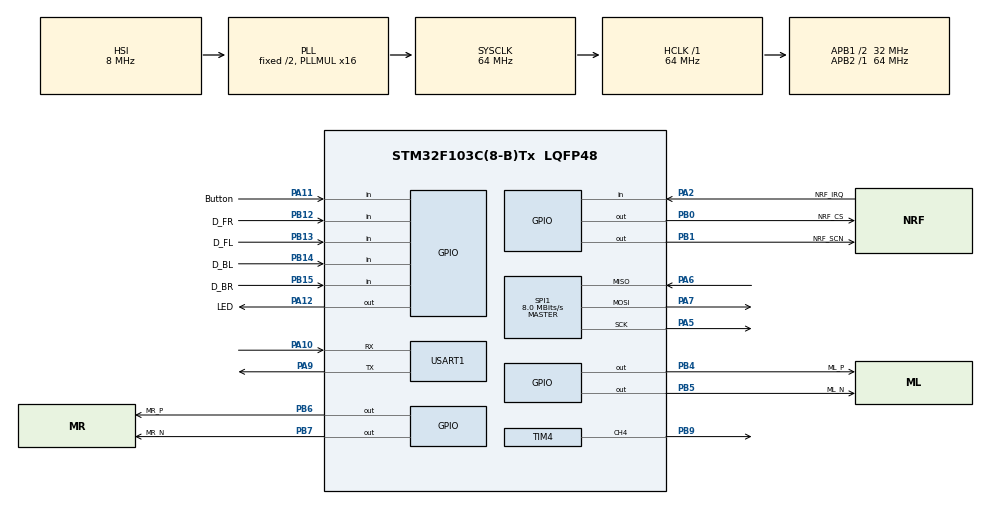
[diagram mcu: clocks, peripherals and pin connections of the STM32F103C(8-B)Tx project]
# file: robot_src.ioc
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Mcu.Family=STM32F1
Mcu.Name=STM32F103C(8-B)Tx
Mcu.Package=LQFP48
NVIC.PriorityGroup=NVIC_PRIORITYGROUP_4
PA10.Mode=Asynchronous
PA10.Signal=USART1_RX
PA11.GPIO_Label=Button
PA11.Signal=GPIO_Input
PA12.GPIO_Label=LED
PA12.Signal=GPIO_Output
PA13.Mode=Serial_Wire
PA13.Signal=SYS_JTMS-SWDIO
PA14.Mode=Serial_Wire
PA14.Signal=SYS_JTCK-SWCLK
PA2.GPIO_Label=NRF_IRQ
PA2.Signal=GPIO_Input
PA5.Mode=Full_Duplex_Master
PA5.Signal=SPI1_SCK
PA6.Mode=Full_Duplex_Master
PA6.Signal=SPI1_MISO
PA7.Mode=Full_Duplex_Master
PA7.Signal=SPI1_MOSI
PA9.Mode=Asynchronous
PA9.Signal=USART1_TX
PB0.GPIO_Label=NRF_CS
PB0.Signal=GPIO_Output
PB1.GPIO_Label=NRF_SCN
PB1.Signal=GPIO_Output
PB12.GPIO_Label=D_FR
PB12.Signal=GPIO_Input
PB13.GPIO_Label=D_FL
PB13.Signal=GPIO_Input
PB14.GPIO_Label=D_BL
PB14.Signal=GPIO_Input
PB15.GPIO_Label=D_BR
PB15.Signal=GPIO_Input
PB4.GPIO_Label=ML_P
PB4.Signal=GPIO_Output
PB5.GPIO_Label=ML_N
PB5.Signal=GPIO_Output
PB6.GPIO_Label=MR_P
PB6.Signal=GPIO_Output
PB7.GPIO_Label=MR_N
PB7.Signal=GPIO_Output
PB9.Signal=S_TIM4_CH4
ProjectManager.HeapSize=0x200
ProjectManager.StackSize=0x1000
ProjectManager.TargetToolchain=SW4STM32
RCC.AHBFreq_Value=64000000
RCC.APB1CLKDivider=RCC_HCLK_DIV2
RCC.APB1Freq_Value=32000000
RCC.APB1TimFreq_Value=64000000
RCC.APB2Freq_Value=64000000
RCC.APB2TimFreq_Value=64000000
RCC.HCLKFreq_Value=64000000
RCC.PLLMUL=RCC_PLL_MUL16
RCC.SYSCLKFreq_VALUE=64000000
RCC.SYSCLKSource=RCC_SYSCLKSOURCE_PLLCLK
RCC.USBFreq_Value=64000000
SH.S_TIM4_CH4.0=TIM4_CH4,PWM Generation4 CH4
SPI1.BaudRatePrescaler=SPI_BAUDRATEPRESCALER_8
SPI1.CalculateBaudRate=8.0 MBits/s
SPI1.Direction=SPI_DIRECTION_2LINES
SPI1.Mode=SPI_MODE_MASTER
SPI1.VirtualType=VM_MASTER
TIM4.Channel-PWM\ Generation4\ CH4=TIM_CHANNEL_4
TIM4.Period=160-1
TIM4.Prescaler=8-1
TIM4.Pulse-PWM\ Generation4\ CH4=80
USART1.VirtualMode=VM_ASYNC
board=custom

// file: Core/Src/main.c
/* USER CODE BEGIN Header */
/**
******************************************************************************
* @file           : main.c
* @brief          : Main program body
******************************************************************************
** This notice applies to any and all portions of this file
* that are not between comment pairs USER CODE BEGIN and
* USER CODE END. Other portions of this file, whether
* inserted by the user or by software development tools
* are owned by their respective copyright owners.
*
* COPYRIGHT(c) 2018 STMicroelectronics
*
* Redistribution and use in source and binary forms, with or without modification,
* are permitted provided that the following conditions are met:
*   1. Redistributions of source code must retain the above copyright notice,
*      this list of conditions and the following disclaimer.
*   2. Redistributions in binary form must reproduce the above copyright notice,
*      this list of conditions and the following disclaimer in the documentation
*      and/or other materials provided with the distribution.
*   3. Neither the name of STMicroelectronics nor the names of its contributors
*      may be used to endorse or promote products derived from this software
*      without specific prior written permission.
*
* THIS SOFTWARE IS PROVIDED BY THE COPYRIGHT HOLDERS AND CONTRIBUTORS "AS IS"
* AND ANY EXPRESS OR IMPLIED WARRANTIES, INCLUDING, BUT NOT LIMITED TO, THE
* IMPLIED WARRANTIES OF MERCHANTABILITY AND FITNESS FOR A PARTICULAR PURPOSE ARE
* DISCLAIMED. IN NO EVENT SHALL THE COPYRIGHT HOLDER OR CONTRIBUTORS BE LIABLE
* FOR ANY DIRECT, INDIRECT, INCIDENTAL, SPECIAL, EXEMPLARY, OR CONSEQUENTIAL
* DAMAGES (INCLUDING, BUT NOT LIMITED TO, PROCUREMENT OF SUBSTITUTE GOODS OR
* SERVICES; LOSS OF USE, DATA, OR PROFITS; OR BUSINESS INTERRUPTION) HOWEVER
* CAUSED AND ON ANY THEORY OF LIABILITY, WHETHER IN CONTRACT, STRICT LIABILITY,
* OR TORT (INCLUDING NEGLIGENCE OR OTHERWISE) ARISING IN ANY WAY OUT OF THE USE
* OF THIS SOFTWARE, EVEN IF ADVISED OF THE POSSIBILITY OF SUCH DAMAGE.
*
******************************************************************************
*/
/* USER CODE END Header */

#include "main.h"
#include "spi.h"
#include "tim.h"
#include "usart.h"
#include "gpio.h"

/* USER CODE BEGIN Includes */
#include "nrf24.h"
/* USER CODE END Includes */

/* USER CODE BEGIN PV */
#define FORW 1
#define BACK 2
#define STOP 0
void mot(uint8_t l, uint8_t r)
{
    //left
    HAL_GPIO_WritePin(ML_P_GPIO_Port, ML_P_Pin,
                      (l == FORW) ? GPIO_PIN_SET : GPIO_PIN_RESET);
    HAL_GPIO_WritePin(ML_N_GPIO_Port, ML_N_Pin,
                      (l == BACK) ? GPIO_PIN_SET : GPIO_PIN_RESET);
    //right
    HAL_GPIO_WritePin(MR_P_GPIO_Port, MR_P_Pin,
                      (r == FORW) ? GPIO_PIN_SET : GPIO_PIN_RESET);
    HAL_GPIO_WritePin(MR_N_GPIO_Port, MR_N_Pin,
                      (r == BACK) ? GPIO_PIN_SET : GPIO_PIN_RESET);

}
#define D_Read(x) HAL_GPIO_ReadPin(x ## _GPIO_Port, x ## _Pin) == GPIO_PIN_SET
/* USER CODE END PV */

void SystemClock_Config(void);

/* USER CODE BEGIN 0 */
int _write(int file, char *ptr, int len)
{
    //CDC_Transmit_FS((uint8_t*)ptr, len);
    HAL_UART_Transmit(&huart1, (uint8_t*)ptr, len, 10);
    return len;
}
/* USER CODE END 0 */

int main(void)
{

    /* MCU Configuration--------------------------------------------------------*/

    /* Reset of all peripherals, Initializes the Flash interface and the Systick. */
    HAL_Init();

    /* Configure the system clock */
    SystemClock_Config();

    /* Initialize all configured peripherals */
    MX_GPIO_Init();
    MX_SPI1_Init();
    MX_USART1_UART_Init();
    MX_TIM4_Init();
    /* USER CODE BEGIN 2 */
    NRF24 n;
    printf("Hello, norilsk\n");
    nRF24_Init(&n, &hspi1,
               NRF_CS_GPIO_Port, NRF_CS_Pin,
               NRF_SCN_GPIO_Port, NRF_SCN_Pin,
               NRF_IRQ_GPIO_Port, NRF_IRQ_Pin);
    printf("nrf24 inited\n");
    if(nRF24_Check(&n))
       printf("nrf24 OK %d\n", nRF24_GetStatus(&n));
    else
       printf("nrf24 ERR\n");

    uint8_t addr[] = "00001";
    nRF24_openWritingPipe(&n, addr, 5);
    nRF24_SetTXPower(&n, nRF24_TXPWR_0dBm);
    nRF24_stopListening(&n);

    // Put the transceiver to the RX mode
    printf("n1 %d\n", nRF24_GetStatus(&n));
    // The main loop
    int i = 1;
    while (1) {
        if(HAL_GPIO_ReadPin(Button_GPIO_Port, Button_Pin)) {
            char text[] = "P71";
            nRF24_write(&n, text, sizeof(text));
        }
        else {
            char text[] = "P70";
            nRF24_write(&n, text, sizeof(text));
        }
        HAL_Delay(50);
    }

    /* USER CODE END 2 */

    /* Infinite loop */
    /* USER CODE BEGIN WHILE */
    while (1)
    {

        HAL_GPIO_TogglePin(LED_GPIO_Port, LED_Pin);
        TIM4->CCR4 = 250;
        printf("%d %d %d %d\n",
               D_Read(D_FL),
               D_Read(D_FR),
               D_Read(D_BL),
               D_Read(D_BR));
        HAL_Delay(500);
        /* for(int i = 250 ; i <= 750; i++) */
        /* { */
        /*     TIM4->CCR4 = i; */
        /*     HAL_Delay(1); */
        /* } */
        /* HAL_GPIO_TogglePin(LED_GPIO_Port, LED_Pin); */
        /* for(int i = 750; i >= 250; i--) */
        /* { */
        /*     TIM4->CCR4 = i; */
        /*     HAL_Delay(1); */
        /* } */
        /* USER CODE END WHILE */

    }
}

void SystemClock_Config(void)
{
    RCC_OscInitTypeDef RCC_OscInitStruct = {0};
    RCC_ClkInitTypeDef RCC_ClkInitStruct = {0};

    /**Initializes the CPU, AHB and APB busses clocks
     */
    RCC_OscInitStruct.OscillatorType = RCC_OSCILLATORTYPE_HSI;
    RCC_OscInitStruct.HSIState = RCC_HSI_ON;
    RCC_OscInitStruct.HSICalibrationValue = RCC_HSICALIBRATION_DEFAULT;
    RCC_OscInitStruct.PLL.PLLState = RCC_PLL_ON;
    RCC_OscInitStruct.PLL.PLLSource = RCC_PLLSOURCE_HSI_DIV2;
    RCC_OscInitStruct.PLL.PLLMUL = RCC_PLL_MUL16;
    if (HAL_RCC_OscConfig(&RCC_OscInitStruct) != HAL_OK)
    {
        Error_Handler();
    }
    /**Initializes the CPU, AHB and APB busses clocks
     */
    RCC_ClkInitStruct.ClockType = RCC_CLOCKTYPE_HCLK|RCC_CLOCKTYPE_SYSCLK
        |RCC_CLOCKTYPE_PCLK1|RCC_CLOCKTYPE_PCLK2;
    RCC_ClkInitStruct.SYSCLKSource = RCC_SYSCLKSOURCE_PLLCLK;
    RCC_ClkInitStruct.AHBCLKDivider = RCC_SYSCLK_DIV1;
    RCC_ClkInitStruct.APB1CLKDivider = RCC_HCLK_DIV2;
    RCC_ClkInitStruct.APB2CLKDivider = RCC_HCLK_DIV1;

    if (HAL_RCC_ClockConfig(&RCC_ClkInitStruct, FLASH_LATENCY_2) != HAL_OK)
    {
        Error_Handler();
    }
}

void Error_Handler(void)
{
}

/************************ (C) COPYRIGHT STMicroelectronics *****END OF FILE****/
